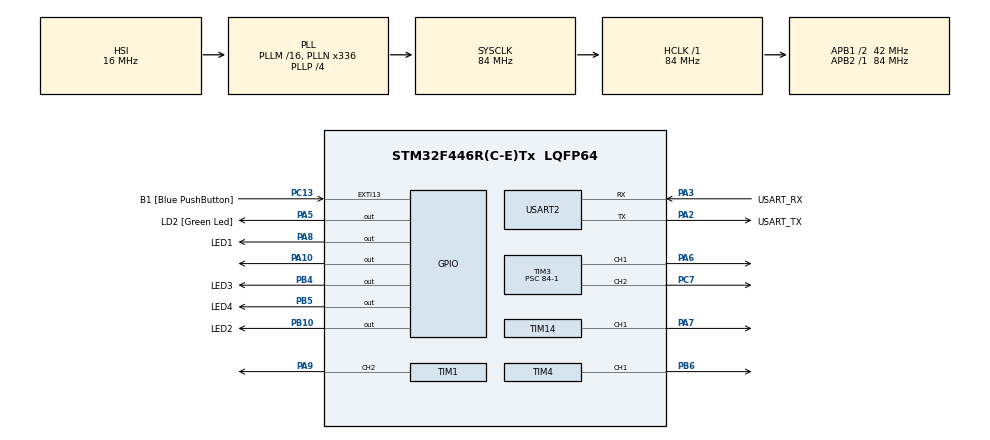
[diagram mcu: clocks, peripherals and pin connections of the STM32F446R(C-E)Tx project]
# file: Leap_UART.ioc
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Mcu.Family=STM32F4
Mcu.Name=STM32F446R(C-E)Tx
Mcu.Package=LQFP64
NVIC.PriorityGroup=NVIC_PRIORITYGROUP_0
NVIC.USART2_IRQn=true\:0\:0\:false\:false\:true\:true\:true\:true
PA10.Signal=GPIO_Output
PA13.GPIO_Label=TMS
PA13.Mode=Serial_Wire
PA13.Signal=SYS_JTMS-SWDIO
PA14.GPIO_Label=TCK
PA14.Mode=Serial_Wire
PA14.Signal=SYS_JTCK-SWCLK
PA2.GPIO_Label=USART_TX
PA2.Mode=Asynchronous
PA2.Signal=USART2_TX
PA3.GPIO_Label=USART_RX
PA3.Mode=Asynchronous
PA3.Signal=USART2_RX
PA5.GPIO_Label=LD2 [Green Led]
PA5.Signal=GPIO_Output
PA6.Signal=S_TIM3_CH1
PA7.Signal=S_TIM14_CH1
PA8.GPIO_Label=LED1
PA8.Signal=GPIO_Output
PA9.Signal=S_TIM1_CH2
PB10.GPIO_Label=LED2
PB10.Signal=GPIO_Output
PB3.GPIO_Label=SWO
PB3.Signal=SYS_JTDO-SWO
PB4.GPIO_Label=LED3
PB4.Signal=GPIO_Output
PB5.GPIO_Label=LED4
PB5.Signal=GPIO_Output
PB6.Signal=S_TIM4_CH1
PC13.GPIO_Label=B1 [Blue PushButton]
PC13.GPIO_ModeDefaultEXTI=GPIO_MODE_IT_FALLING
PC13.Signal=GPXTI13
PC14-OSC32_IN.Mode=LSE-External-Oscillator
PC14-OSC32_IN.Signal=RCC_OSC32_IN
PC15-OSC32_OUT.Mode=LSE-External-Oscillator
PC15-OSC32_OUT.Signal=RCC_OSC32_OUT
PC7.Signal=S_TIM3_CH2
PH0-OSC_IN.Mode=HSE-External-Oscillator
PH0-OSC_IN.Signal=RCC_OSC_IN
PH1-OSC_OUT.Mode=HSE-External-Oscillator
PH1-OSC_OUT.Signal=RCC_OSC_OUT
ProjectManager.HeapSize=0x200
ProjectManager.StackSize=0x400
ProjectManager.TargetToolchain=STM32CubeIDE
RCC.48MHZClocksFreq_Value=84000000
RCC.AHBFreq_Value=84000000
RCC.APB1CLKDivider=RCC_HCLK_DIV2
RCC.APB1Freq_Value=42000000
RCC.APB1TimFreq_Value=84000000
RCC.APB2Freq_Value=84000000
RCC.APB2TimFreq_Value=84000000
RCC.CortexFreq_Value=84000000
RCC.FLatency-AdvancedSettings=FLASH_LATENCY_2
RCC.HCLKFreq_Value=84000000
RCC.HSE_VALUE=8000000
RCC.HSI_VALUE=16000000
RCC.PLLN=336
RCC.PLLP=RCC_PLLP_DIV4
RCC.SYSCLKFreq_VALUE=84000000
RCC.SYSCLKSource=RCC_SYSCLKSOURCE_PLLCLK
RCC.USBFreq_Value=168000000
RCC.VCOOutputFreq_Value=336000000
SH.S_TIM14_CH1.0=TIM14_CH1,PWM Generation1 CH1
SH.S_TIM1_CH2.0=TIM1_CH2,PWM Generation2 CH2
SH.S_TIM3_CH1.0=TIM3_CH1,PWM Generation1 CH1
SH.S_TIM3_CH2.0=TIM3_CH2,PWM Generation2 CH2
SH.S_TIM4_CH1.0=TIM4_CH1,PWM Generation1 CH1
TIM1.Channel-PWM\ Generation2\ CH2=TIM_CHANNEL_2
TIM1.Prescaler=84-1
TIM14.Channel=TIM_CHANNEL_1
TIM14.Period=20000-1
TIM14.Prescaler=84-1
TIM3.Channel-PWM\ Generation1\ CH1=TIM_CHANNEL_1
TIM3.Channel-PWM\ Generation2\ CH2=TIM_CHANNEL_2
TIM3.Period=20000-1
TIM3.Prescaler=84-1
TIM4.Channel-PWM\ Generation1\ CH1=TIM_CHANNEL_1
TIM4.Prescaler=84-1
USART2.VirtualMode=VM_ASYNC
VP_TIM14_VS_ClockSourceINT.Mode=Enable_Timer
board=NUCLEO-F446RE

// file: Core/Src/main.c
/* USER CODE BEGIN Header */
/**
  ******************************************************************************
  * @file           : main.c
  * @brief          : Main program body
  ******************************************************************************
  * @attention
  *
  * Copyright (c) 2025 STMicroelectronics.
  * All rights reserved.
  *
  * This software is licensed under terms that can be found in the LICENSE file
  * in the root directory of this software component.
  * If no LICENSE file comes with this software, it is provided AS-IS.
  *
  ******************************************************************************
  */
/* USER CODE END Header */
#include "main.h"

/* USER CODE BEGIN Includes */
#include "string.h"
#include "servo.h"
#include <stdio.h>
#include <stdlib.h>

/* USER CODE END Includes */

TIM_HandleTypeDef htim1;
TIM_HandleTypeDef htim3;
TIM_HandleTypeDef htim4;
TIM_HandleTypeDef htim14;

UART_HandleTypeDef huart2;

/* USER CODE BEGIN PV */
Servo_HandleTypeDef hservo1;
Servo_HandleTypeDef hservo2;
Servo_HandleTypeDef hservo3;
Servo_HandleTypeDef hservo4;
Servo_HandleTypeDef hservo5;

volatile uint8_t stage = 0;
volatile uint8_t timer_trig = 0;

#define RX_BUFFER_SIZE 128
uint8_t rx_buffer[RX_BUFFER_SIZE];      // UART receive buffer
uint8_t rx_data;            // Store received byte
uint8_t rx_index = 0;       // Track index in buffer
uint8_t command_ready = 0;  // Flag when a command is complete
//uint8_t receiving_command = 0;
/* USER CODE END PV */

void SystemClock_Config(void);
static void MX_GPIO_Init(void);
static void MX_USART2_UART_Init(void);
static void MX_TIM3_Init(void);
static void MX_TIM1_Init(void);
static void MX_TIM4_Init(void);
static void MX_TIM14_Init(void);
/* USER CODE BEGIN PFP */
void Servo_Init(Servo_HandleTypeDef* hservo, TIM_HandleTypeDef* htim, uint32_t channel, uint16_t min_us, uint16_t max_us);
void Servo_SetAngle(Servo_HandleTypeDef* hservo, uint8_t angle);
void ParseAndSetServoAngles(uint8_t* cmd);
/* USER CODE END PFP */

/* USER CODE BEGIN 0 */
void SetServoAngle(TIM_HandleTypeDef *htim, uint32_t channel, int16_t angle)
{
	int16_t pulse_length = 600 + (angle * (2510 - 600))/180;
	__HAL_TIM_SET_COMPARE(htim, channel, pulse_length);
}
/* USER CODE END 0 */

int main(void)
{

  /* MCU Configuration--------------------------------------------------------*/

  /* Reset of all peripherals, Initializes the Flash interface and the Systick. */
  HAL_Init();

  /* Configure the system clock */
  SystemClock_Config();

  /* Initialize all configured peripherals */
  MX_GPIO_Init();
  MX_USART2_UART_Init();
  MX_TIM3_Init();
  MX_TIM1_Init();
  MX_TIM4_Init();
  MX_TIM14_Init();
  /* USER CODE BEGIN 2 */
  HAL_UART_Receive_IT(&huart2, &rx_data, 1); // Start receiving UART interrupt
  Servo_Init(&hservo1, &htim3, TIM_CHANNEL_1, 600, 2510);
  Servo_Init(&hservo2, &htim14, TIM_CHANNEL_1, 600, 2510);
  Servo_Init(&hservo3, &htim4, TIM_CHANNEL_1, 600, 2510);
  Servo_Init(&hservo4, &htim3, TIM_CHANNEL_2, 600, 2510);
  Servo_Init(&hservo5, &htim1, TIM_CHANNEL_2, 600, 2510);

  /* USER CODE END 2 */

  /* Infinite loop */
  while (1)
  {

    /* USER CODE BEGIN 3 */

	  if (command_ready)
	    {
		  command_ready = 0;
		  rx_buffer[rx_index] = '\0';
		  ParseAndSetServoAngles(rx_buffer);

	      // Reset buffer for next command
	      rx_index = 0;

	    }
  }
  /* USER CODE END 3 */
}

void SystemClock_Config(void)
{
  RCC_OscInitTypeDef RCC_OscInitStruct = {0};
  RCC_ClkInitTypeDef RCC_ClkInitStruct = {0};

  /** Configure the main internal regulator output voltage
  */
  __HAL_RCC_PWR_CLK_ENABLE();
  __HAL_PWR_VOLTAGESCALING_CONFIG(PWR_REGULATOR_VOLTAGE_SCALE3);

  /** Initializes the RCC Oscillators according to the specified parameters
  * in the RCC_OscInitTypeDef structure.
  */
  RCC_OscInitStruct.OscillatorType = RCC_OSCILLATORTYPE_HSI;
  RCC_OscInitStruct.HSIState = RCC_HSI_ON;
  RCC_OscInitStruct.HSICalibrationValue = RCC_HSICALIBRATION_DEFAULT;
  RCC_OscInitStruct.PLL.PLLState = RCC_PLL_ON;
  RCC_OscInitStruct.PLL.PLLSource = RCC_PLLSOURCE_HSI;
  RCC_OscInitStruct.PLL.PLLM = 16;
  RCC_OscInitStruct.PLL.PLLN = 336;
  RCC_OscInitStruct.PLL.PLLP = RCC_PLLP_DIV4;
  RCC_OscInitStruct.PLL.PLLQ = 2;
  RCC_OscInitStruct.PLL.PLLR = 2;
  if (HAL_RCC_OscConfig(&RCC_OscInitStruct) != HAL_OK)
  {
    Error_Handler();
  }

  /** Initializes the CPU, AHB and APB buses clocks
  */
  RCC_ClkInitStruct.ClockType = RCC_CLOCKTYPE_HCLK|RCC_CLOCKTYPE_SYSCLK
                              |RCC_CLOCKTYPE_PCLK1|RCC_CLOCKTYPE_PCLK2;
  RCC_ClkInitStruct.SYSCLKSource = RCC_SYSCLKSOURCE_PLLCLK;
  RCC_ClkInitStruct.AHBCLKDivider = RCC_SYSCLK_DIV1;
  RCC_ClkInitStruct.APB1CLKDivider = RCC_HCLK_DIV2;
  RCC_ClkInitStruct.APB2CLKDivider = RCC_HCLK_DIV1;

  if (HAL_RCC_ClockConfig(&RCC_ClkInitStruct, FLASH_LATENCY_2) != HAL_OK)
  {
    Error_Handler();
  }
}

static void MX_TIM1_Init(void)
{

  TIM_MasterConfigTypeDef sMasterConfig = {0};
  TIM_OC_InitTypeDef sConfigOC = {0};
  TIM_BreakDeadTimeConfigTypeDef sBreakDeadTimeConfig = {0};

  htim1.Instance = TIM1;
  htim1.Init.Prescaler = 84-1;
  htim1.Init.CounterMode = TIM_COUNTERMODE_UP;
  htim1.Init.Period = 65535;
  htim1.Init.ClockDivision = TIM_CLOCKDIVISION_DIV1;
  htim1.Init.RepetitionCounter = 0;
  htim1.Init.AutoReloadPreload = TIM_AUTORELOAD_PRELOAD_DISABLE;
  if (HAL_TIM_PWM_Init(&htim1) != HAL_OK)
  {
    Error_Handler();
  }
  sMasterConfig.MasterOutputTrigger = TIM_TRGO_RESET;
  sMasterConfig.MasterSlaveMode = TIM_MASTERSLAVEMODE_DISABLE;
  if (HAL_TIMEx_MasterConfigSynchronization(&htim1, &sMasterConfig) != HAL_OK)
  {
    Error_Handler();
  }
  sConfigOC.OCMode = TIM_OCMODE_PWM1;
  sConfigOC.Pulse = 0;
  sConfigOC.OCPolarity = TIM_OCPOLARITY_HIGH;
  sConfigOC.OCNPolarity = TIM_OCNPOLARITY_HIGH;
  sConfigOC.OCFastMode = TIM_OCFAST_DISABLE;
  sConfigOC.OCIdleState = TIM_OCIDLESTATE_RESET;
  sConfigOC.OCNIdleState = TIM_OCNIDLESTATE_RESET;
  if (HAL_TIM_PWM_ConfigChannel(&htim1, &sConfigOC, TIM_CHANNEL_2) != HAL_OK)
  {
    Error_Handler();
  }
  sBreakDeadTimeConfig.OffStateRunMode = TIM_OSSR_DISABLE;
  sBreakDeadTimeConfig.OffStateIDLEMode = TIM_OSSI_DISABLE;
  sBreakDeadTimeConfig.LockLevel = TIM_LOCKLEVEL_OFF;
  sBreakDeadTimeConfig.DeadTime = 0;
  sBreakDeadTimeConfig.BreakState = TIM_BREAK_DISABLE;
  sBreakDeadTimeConfig.BreakPolarity = TIM_BREAKPOLARITY_HIGH;
  sBreakDeadTimeConfig.AutomaticOutput = TIM_AUTOMATICOUTPUT_DISABLE;
  if (HAL_TIMEx_ConfigBreakDeadTime(&htim1, &sBreakDeadTimeConfig) != HAL_OK)
  {
    Error_Handler();
  }
  HAL_TIM_MspPostInit(&htim1);

}

static void MX_TIM3_Init(void)
{

  TIM_MasterConfigTypeDef sMasterConfig = {0};
  TIM_OC_InitTypeDef sConfigOC = {0};

  htim3.Instance = TIM3;
  htim3.Init.Prescaler = 84-1;
  htim3.Init.CounterMode = TIM_COUNTERMODE_UP;
  htim3.Init.Period = 20000-1;
  htim3.Init.ClockDivision = TIM_CLOCKDIVISION_DIV1;
  htim3.Init.AutoReloadPreload = TIM_AUTORELOAD_PRELOAD_DISABLE;
  if (HAL_TIM_PWM_Init(&htim3) != HAL_OK)
  {
    Error_Handler();
  }
  sMasterConfig.MasterOutputTrigger = TIM_TRGO_RESET;
  sMasterConfig.MasterSlaveMode = TIM_MASTERSLAVEMODE_DISABLE;
  if (HAL_TIMEx_MasterConfigSynchronization(&htim3, &sMasterConfig) != HAL_OK)
  {
    Error_Handler();
  }
  sConfigOC.OCMode = TIM_OCMODE_PWM1;
  sConfigOC.Pulse = 0;
  sConfigOC.OCPolarity = TIM_OCPOLARITY_HIGH;
  sConfigOC.OCFastMode = TIM_OCFAST_DISABLE;
  if (HAL_TIM_PWM_ConfigChannel(&htim3, &sConfigOC, TIM_CHANNEL_1) != HAL_OK)
  {
    Error_Handler();
  }
  if (HAL_TIM_PWM_ConfigChannel(&htim3, &sConfigOC, TIM_CHANNEL_2) != HAL_OK)
  {
    Error_Handler();
  }
  HAL_TIM_MspPostInit(&htim3);

}

static void MX_TIM4_Init(void)
{

  TIM_MasterConfigTypeDef sMasterConfig = {0};
  TIM_OC_InitTypeDef sConfigOC = {0};

  htim4.Instance = TIM4;
  htim4.Init.Prescaler = 84-1;
  htim4.Init.CounterMode = TIM_COUNTERMODE_UP;
  htim4.Init.Period = 65535;
  htim4.Init.ClockDivision = TIM_CLOCKDIVISION_DIV1;
  htim4.Init.AutoReloadPreload = TIM_AUTORELOAD_PRELOAD_DISABLE;
  if (HAL_TIM_PWM_Init(&htim4) != HAL_OK)
  {
    Error_Handler();
  }
  sMasterConfig.MasterOutputTrigger = TIM_TRGO_RESET;
  sMasterConfig.MasterSlaveMode = TIM_MASTERSLAVEMODE_DISABLE;
  if (HAL_TIMEx_MasterConfigSynchronization(&htim4, &sMasterConfig) != HAL_OK)
  {
    Error_Handler();
  }
  sConfigOC.OCMode = TIM_OCMODE_PWM1;
  sConfigOC.Pulse = 0;
  sConfigOC.OCPolarity = TIM_OCPOLARITY_HIGH;
  sConfigOC.OCFastMode = TIM_OCFAST_DISABLE;
  if (HAL_TIM_PWM_ConfigChannel(&htim4, &sConfigOC, TIM_CHANNEL_1) != HAL_OK)
  {
    Error_Handler();
  }
  HAL_TIM_MspPostInit(&htim4);

}

static void MX_TIM14_Init(void)
{

  TIM_OC_InitTypeDef sConfigOC = {0};

  htim14.Instance = TIM14;
  htim14.Init.Prescaler = 84-1;
  htim14.Init.CounterMode = TIM_COUNTERMODE_UP;
  htim14.Init.Period = 20000-1;
  htim14.Init.ClockDivision = TIM_CLOCKDIVISION_DIV1;
  htim14.Init.AutoReloadPreload = TIM_AUTORELOAD_PRELOAD_DISABLE;
  if (HAL_TIM_Base_Init(&htim14) != HAL_OK)
  {
    Error_Handler();
  }
  if (HAL_TIM_PWM_Init(&htim14) != HAL_OK)
  {
    Error_Handler();
  }
  sConfigOC.OCMode = TIM_OCMODE_PWM1;
  sConfigOC.Pulse = 0;
  sConfigOC.OCPolarity = TIM_OCPOLARITY_HIGH;
  sConfigOC.OCFastMode = TIM_OCFAST_DISABLE;
  if (HAL_TIM_PWM_ConfigChannel(&htim14, &sConfigOC, TIM_CHANNEL_1) != HAL_OK)
  {
    Error_Handler();
  }
  HAL_TIM_MspPostInit(&htim14);

}

static void MX_USART2_UART_Init(void)
{

  huart2.Instance = USART2;
  huart2.Init.BaudRate = 115200;
  huart2.Init.WordLength = UART_WORDLENGTH_8B;
  huart2.Init.StopBits = UART_STOPBITS_1;
  huart2.Init.Parity = UART_PARITY_NONE;
  huart2.Init.Mode = UART_MODE_TX_RX;
  huart2.Init.HwFlowCtl = UART_HWCONTROL_NONE;
  huart2.Init.OverSampling = UART_OVERSAMPLING_16;
  if (HAL_UART_Init(&huart2) != HAL_OK)
  {
    Error_Handler();
  }

}

static void MX_GPIO_Init(void)
{
  GPIO_InitTypeDef GPIO_InitStruct = {0};

  /* GPIO Ports Clock Enable */
  __HAL_RCC_GPIOC_CLK_ENABLE();
  __HAL_RCC_GPIOH_CLK_ENABLE();
  __HAL_RCC_GPIOA_CLK_ENABLE();
  __HAL_RCC_GPIOB_CLK_ENABLE();

  /*Configure GPIO pin Output Level */
  HAL_GPIO_WritePin(GPIOA, LD2_Pin|LED1_Pin|GPIO_PIN_10, GPIO_PIN_RESET);

  /*Configure GPIO pin Output Level */
  HAL_GPIO_WritePin(GPIOB, LED2_Pin|LED3_Pin|LED4_Pin, GPIO_PIN_RESET);

  /*Configure GPIO pin : B1_Pin */
  GPIO_InitStruct.Pin = B1_Pin;
  GPIO_InitStruct.Mode = GPIO_MODE_IT_FALLING;
  GPIO_InitStruct.Pull = GPIO_NOPULL;
  HAL_GPIO_Init(B1_GPIO_Port, &GPIO_InitStruct);

  /*Configure GPIO pins : LD2_Pin LED1_Pin PA10 */
  GPIO_InitStruct.Pin = LD2_Pin|LED1_Pin|GPIO_PIN_10;
  GPIO_InitStruct.Mode = GPIO_MODE_OUTPUT_PP;
  GPIO_InitStruct.Pull = GPIO_NOPULL;
  GPIO_InitStruct.Speed = GPIO_SPEED_FREQ_LOW;
  HAL_GPIO_Init(GPIOA, &GPIO_InitStruct);

  /*Configure GPIO pins : LED2_Pin LED3_Pin LED4_Pin */
  GPIO_InitStruct.Pin = LED2_Pin|LED3_Pin|LED4_Pin;
  GPIO_InitStruct.Mode = GPIO_MODE_OUTPUT_PP;
  GPIO_InitStruct.Pull = GPIO_NOPULL;
  GPIO_InitStruct.Speed = GPIO_SPEED_FREQ_LOW;
  HAL_GPIO_Init(GPIOB, &GPIO_InitStruct);

}

/* USER CODE BEGIN 4 */
void HAL_UART_RxCpltCallback(UART_HandleTypeDef *huart)
{
	if (huart->Instance == USART2)
	  {
	    if (rx_data == '\n' || rx_data == '\r') {
	      command_ready = 1;
	    } else {
	      if (rx_index < sizeof(rx_buffer) - 1) {
	        rx_buffer[rx_index++] = rx_data;
	      }
	    }
	    HAL_UART_Receive_IT(&huart2, &rx_data, 1); // Restart UART receive
	  }
}

void ParseAndSetServoAngles(uint8_t* cmd)
{
    // cmd is like: "80,100,90,85,70"
    // Null-terminate just in case (should already be done by UART)
    size_t len = strlen((char*)cmd);
    if (len < 5) return; // too short

    char* token = strtok((char*)cmd, ",");
    int idx = 0;
    while (token != NULL && idx < 5) {
        int angle = atoi(token);

//        if (openness < 0) openness = 0;
//        if (openness > 100) openness = 100;

//        int angle = ((openness/100) * 120) + 60; // map 0-100% to 0-180°

        switch (idx) {
            case 0: Servo_SetAngle(&hservo1, angle); break; // Thumb
            case 1: Servo_SetAngle(&hservo2, angle); break; // Index
            case 2: Servo_SetAngle(&hservo3, angle); break; // Middle
            case 3: Servo_SetAngle(&hservo4, angle); break; // Ring
            case 4: Servo_SetAngle(&hservo5, angle); break; // Pinky
            default: break;
        }
        idx++;
        token = strtok(NULL, ",");
    }
}

void Servo_Init(Servo_HandleTypeDef* hservo, TIM_HandleTypeDef* htim, uint32_t channel, uint16_t min_us, uint16_t max_us)
{
    hservo->htim = htim;
    hservo->Channel = channel;
    hservo->MinPulse = min_us;
    hservo->MaxPulse = max_us;

    HAL_TIM_PWM_Start(htim, channel);  // Start PWM
}

void Servo_SetAngle(Servo_HandleTypeDef* hservo, uint8_t angle)
{
	int16_t pulse_length = hservo->MinPulse + (angle * (hservo->MaxPulse - hservo->MinPulse))/180;
	__HAL_TIM_SET_COMPARE(hservo->htim, hservo->Channel, pulse_length);
}
/* USER CODE END 4 */

void Error_Handler(void)
{
  __disable_irq();
  while (1)
  {
  }
}
